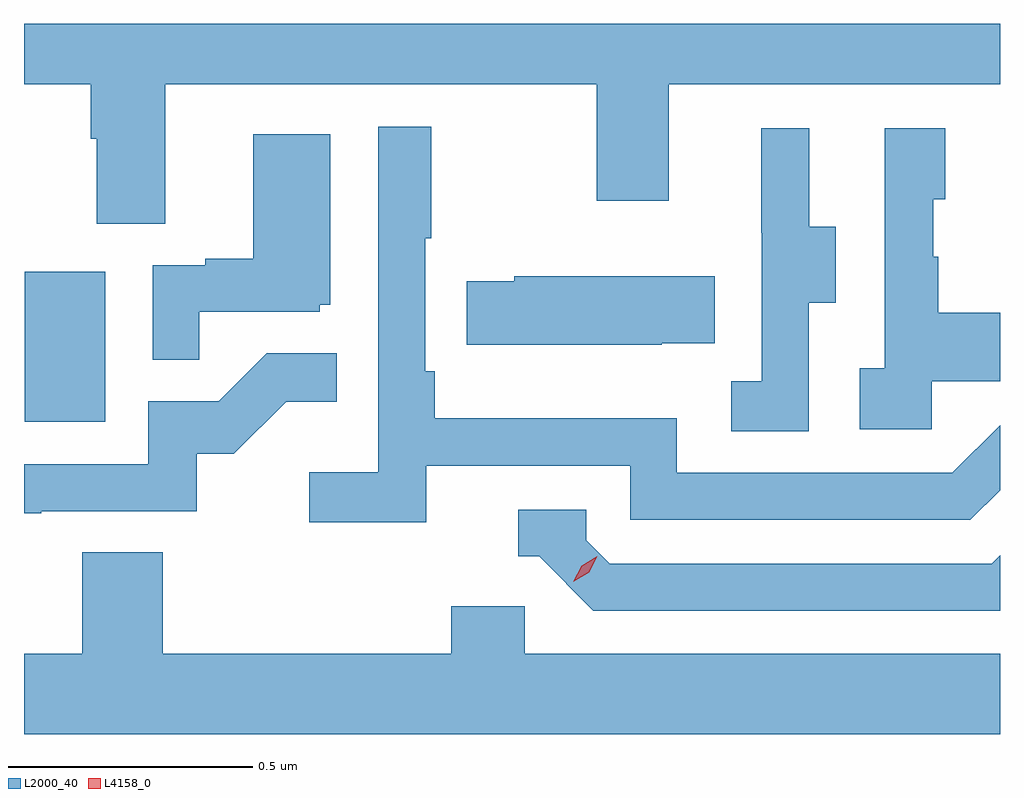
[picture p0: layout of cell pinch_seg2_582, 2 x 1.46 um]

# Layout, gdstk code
import gdstk
lib = gdstk.Library(unit=1e-6, precision=1e-09)
def R(c, l, rs):  # rectangles x0, y0, x1, y1
    for r in rs: c.add(gdstk.rectangle(r[:2], r[2:], *l))
def P(c, l, *ps):  # polygons
    for p in ps: c.add(gdstk.Polygon(p, *l))
L2000_40 = (2000, 40)
L4158_0 = (4158, 0)

pinch_seg2_582 = lib.new_cell('pinch_seg2_582')
R(pinch_seg2_582, L2000_40, [(1085.288,608.316,1085.452,608.623)])
P(pinch_seg2_582, L2000_40, [(1085.575,609.008),(1086.46,609.008),(1086.46,608.769),(1086.607,608.769),(1086.607,609.008),(1087.286,609.008),(1087.286,609.131),(1085.286,609.131),(1085.286,609.008),(1085.423,609.008),(1085.423,608.896),(1085.435,608.896),(1085.435,608.722),(1085.575,608.722)],
  [(1086.11,608.226),(1086.528,608.226),(1086.528,608.115),(1087.225,608.115),(1087.286,608.176),(1087.286,608.309),(1087.188,608.211),(1086.624,608.211),(1086.624,608.323),(1086.128,608.323),(1086.128,608.419),(1086.108,608.419),(1086.108,608.692),(1086.121,608.692),(1086.121,608.92),(1086.012,608.92),(1086.012,608.212),(1085.871,608.212),(1085.871,608.11),(1086.11,608.11)],
  [(1086.894,608.56),(1086.949,608.56),(1086.949,608.715),(1086.895,608.715),(1086.895,608.917),(1086.797,608.917),(1086.797,608.703),(1086.798,608.703),(1086.798,608.399),(1086.735,608.399),(1086.735,608.296),(1086.894,608.296)],
  [(1087.146,608.399),(1087.286,608.399),(1087.286,608.539),(1087.159,608.539),(1087.159,608.654),(1087.149,608.654),(1087.149,608.772),(1087.174,608.772),(1087.174,608.917),(1087.05,608.917),(1087.05,608.426),(1086.999,608.426),(1086.999,608.301),(1087.146,608.301)],
  [(1085.645,608.541),(1085.892,608.541),(1085.892,608.556),(1085.914,608.556),(1085.914,608.905),(1085.756,608.905),(1085.756,608.65),(1085.657,608.65),(1085.657,608.637),(1085.55,608.637),(1085.55,608.443),(1085.645,608.443)],
  [(1086.593,608.477),(1086.701,608.477),(1086.701,608.614),(1086.291,608.614),(1086.291,608.604),(1086.193,608.604),(1086.193,608.474),(1086.593,608.474)],
  [(1085.321,608.133),(1085.64,608.133),(1085.64,608.25),(1085.716,608.25),(1085.823,608.357),(1085.927,608.357),(1085.927,608.456),(1085.783,608.456),(1085.685,608.358),(1085.541,608.358),(1085.541,608.229),(1085.286,608.229),(1085.286,608.128),(1085.321,608.128)],
  [(1087.286,608.042),(1087.269,608.025),(1086.486,608.025),(1086.438,608.073),(1086.438,608.136),(1086.299,608.136),(1086.299,608.04),(1086.342,608.04),(1086.453,607.929),(1087.286,607.929)],
  [(1087.286,607.84),(1086.312,607.84),(1086.312,607.938),(1086.161,607.938),(1086.161,607.84),(1085.57,607.84),(1085.57,608.048),(1085.405,608.048),(1085.405,607.84),(1085.286,607.84),(1085.286,607.676),(1087.286,607.676)])
P(pinch_seg2_582, L4158_0, [(1086.412,607.988),(1086.412,607.988),(1086.429,608.021),(1086.461,608.04),(1086.461,608.04),(1086.461,608.04),(1086.444,608.007),(1086.412,607.988)])

lib.write_gds('pinch_seg2_582.gds')
